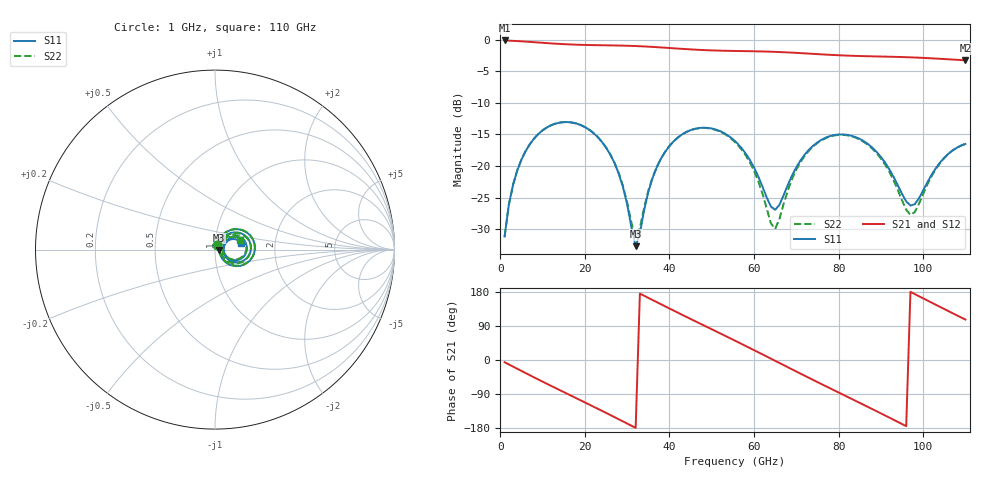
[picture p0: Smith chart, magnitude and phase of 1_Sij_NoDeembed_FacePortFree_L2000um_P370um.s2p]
! Touchstone file exported from HFSS 2024.2.0
!  File:  C:/Users/vaintrug/Documents/Ansoft_Workspace/Comparaison_Calculs_HFSS/1_VarPort.aedt
!  Generated:  03:22:19 PM Jan 21, 2025
!  Design:  1_NoDeembed_FacePortFree
!  Project:  1_VarPort
!  Setup:  Setup1
!  Solution:  Sweep
! Variables:
!  $Lenght = 2000um
!  $PortSize = 370um
!  Gap = 30um
!  Th = 2um
!  X_centralStrip = 20um
!  X_masse = 200um
!  Y_Sub = 2mm
!  Z_Box = 400um
!  Z_Sub = 200um
# GHz S MA R 50.000000
! Terminal data exported
! Port[1] = 1
! Port[2] = 2
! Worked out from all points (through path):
!   110 points, 1 GHz to 110 GHz, reference 50 ohm
!   highest |S21| = -0.13 dB at 1 GHz (marker M1); lowest = -3.3 dB at 110 GHz (marker M2)
!   group delay of S21, straight-line fit = 15.4 ps
!   lowest |S11| = -32.7 dB at 32 GHz (marker M3), VSWR 1.05, Z = 52.4 - j0.152 ohm
!   |S11| at or under -10 dB: start of sweep to end of sweep
!   |S22| runs from -31.3 to -13.0 dB; largest |S21 - S12| = 2e-15
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1  0.02767 61.2  0.9854 -5.9  0.9854 -5.9  0.02767 61.2
! Gamma 6.05319119448313 50.121884205331 5.88107596722568 49.7915466461542
! Port Impedance 50 0 50 0
3  0.07111 65.6  0.9783 -17.4  0.9783 -17.4  0.07111 65.7
7  0.1494 48.6  0.9599 -40.3  0.9599 -40.3  0.1494 48.8
13  0.2163 17.8  0.9296 -73.7  0.9296 -73.7  0.2164 18.1
20  0.2031 -17.5  0.9082 -112.0  0.9082 -112.0  0.2035 -16.8
27  0.1054 -48.1  0.8995 -150.8  0.8995 -150.8  0.1063 -46.3
29  0.06808 -51.6  0.8965 -162.1  0.8965 -162.1  0.06951 -48.8
32  0.0232 -3.6  0.8897 -179.1  0.8897 -179.1  0.02709 -3.1
35  0.0624 55.1  0.8799 163.9  0.8799 163.9  0.06379 51.6
38  0.1144 49.6  0.8676 147.0  0.8676 147.0  0.1149 47.4
43  0.1779 28.7  0.8455 119.3  0.8455 119.3  0.1777 27.0
47  0.1998 10.6  0.8305 97.4  0.8305 97.4  0.1991 8.7
56  0.1517 -27.3  0.8132 48.3  0.8132 48.3  0.1487 -30.9
60  0.09726 -36.8  0.809 26.0  0.809 26.0  0.09168 -43.0
65  0.04503 3.4  0.8005 -2.1  0.8005 -2.1  0.0318 6.9
70  0.09763 38.5  0.786 -30.3  0.786 -30.3  0.09355 46.6
74  0.1449 28.7  0.7718 -52.7  0.7718 -52.7  0.1429 34.1
83  0.1737 -6.3  0.7456 -102.2  0.7456 -102.2  0.1722 -3.4
92  0.09426 -32.5  0.7327 -152.0  0.7327 -152.0  0.08997 -32.1
97  0.04865 -2.4  0.7244 179.8  0.7244 179.8  0.04109 2.8
104  0.1065 32.6  0.7054 140.2  0.7054 140.2  0.1055 40.3
110  0.1495 14.3  0.6865 106.6  0.6865 106.6  0.1497 20.4
